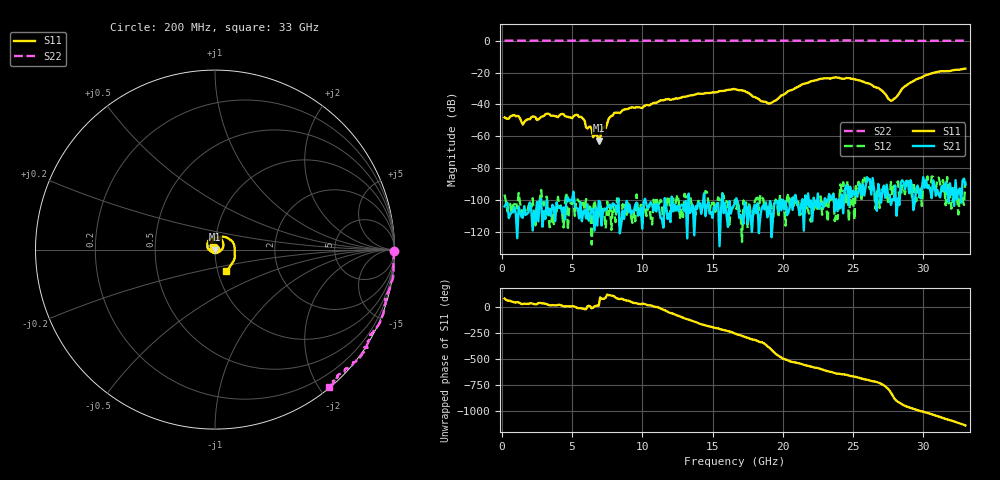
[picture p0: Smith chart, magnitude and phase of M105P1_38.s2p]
# GHZ S RI R 50
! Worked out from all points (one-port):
!   329 points, 200 MHz to 33 GHz, reference 50 ohm
!   lowest |S11| = -62.8 dB at 6.9 GHz (marker M1), VSWR 1.00, Z = 50.1 + j0.0112 ohm
!   |S11| at or under -10 dB: start of sweep to end of sweep
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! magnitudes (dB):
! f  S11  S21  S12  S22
! 200 MHz  -48.1  -103.9  -96.5  0.0
! 1.2 GHz  -47.4  -104.1  -95.5  0.0
! 1.5 GHz  -52.7  -111.0  -111.6  0.0
! 3.2 GHz  -45.9  -99.9  -97.8  0.0
! 5.7 GHz  -48.2  -113.2  -104.4  0.0
! 6 GHz  -54.4  -111.4  -99.3  0.0
! 6.3 GHz  -53.8  -109.8  -104.3  0.0
! 6.5 GHz  -60.6  -105.9  -106.1  0.0
! 6.8 GHz  -59.3  -115.9  -104.1  0.0
! 6.9 GHz  -62.8  -100.5  -111.5  0.0
! 7.1 GHz  -55.8  -115.9  -106.0  0.0
! 7.4 GHz  -54.8  -106.4  -117.7  0.0
! 8 GHz  -45.4  -102.6  -106.4  0.0
! 11.2 GHz  -38.0  -105.3  -102.0  -0.1
! 16.6 GHz  -30.5  -101.8  -99.6  0.0
! 19 GHz  -39.6  -107.7  -102.6  -0.1
! 22.1 GHz  -25.3  -113.2  -106.3  0.0
! 25.5 GHz  -25.0  -89.9  -90.5  0.0
! 26.8 GHz  -29.7  -89.8  -92.0  0.0
! 27.6 GHz  -37.2  -97.1  -100.6  -0.1
! 30.1 GHz  -22.0  -92.2  -86.5  -0.2
! 33 GHz  -17.6  -90.3  -88.2  -0.1
